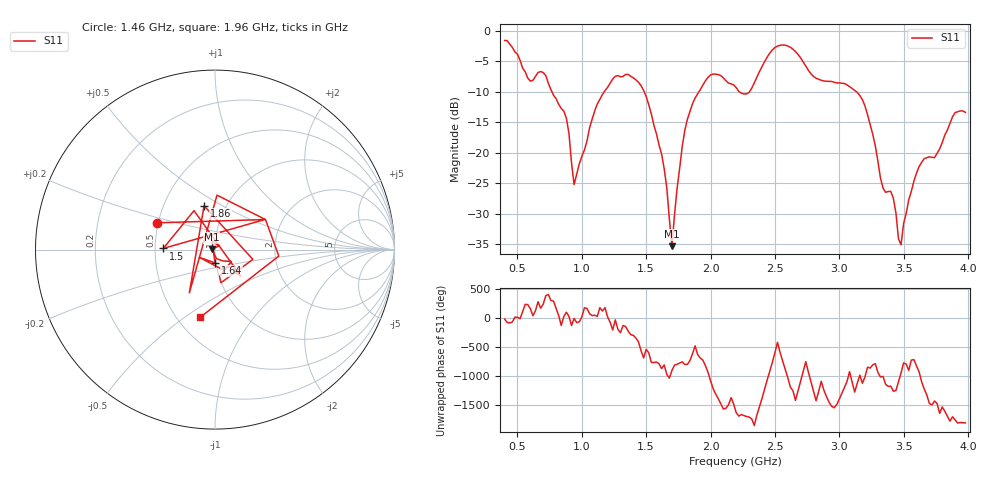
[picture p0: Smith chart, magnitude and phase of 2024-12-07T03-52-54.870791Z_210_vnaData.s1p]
!Created with skrf (http://scikit-rf.org).
# Hz S RI R 50.0
!freq ReS11 ImS11
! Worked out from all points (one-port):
!   180 points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, 400 MHz to 3.98 GHz, reference 50 ohm
!   lowest |S11| = -35.3 dB at 1.7 GHz (marker M1), VSWR 1.03, Z = 48.3 + j0.15 ohm
!   |S11| at or under -10 dB: 767.1 MHz to 1.175 GHz (407.9 MHz wide, 42 % of centre); 1.484 GHz to 1.911 GHz (426.8 MHz wide, 25.1 % of centre); 3.133 GHz to end of sweep (the widest 3 of 4)
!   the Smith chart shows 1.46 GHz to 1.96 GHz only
!   S11 on the Smith chart (normalised r, x): 1.46 GHz: 0.49, +0.17; 1.5 GHz: 0.55, +0.01; 1.64 GHz: 0.99, -0.15; 1.86 GHz: 0.79, +0.41; 1.96 GHz: 0.65, -0.57
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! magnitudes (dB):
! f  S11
! 400 MHz  -1.6
! 600 MHz  -8.3
! 700 MHz  -6.9
! 860 MHz  -13.2
! 900 MHz  -16.9
! 940 MHz  -25.2
! 1.12 GHz  -12.0
! 1.3 GHz  -7.6
! 1.46 GHz  -9.0
! 1.5 GHz  -10.8
! 1.64 GHz  -22.6
! 1.7 GHz  -35.3
! 1.76 GHz  -22.6
! 1.86 GHz  -12.0
! 1.96 GHz  -8.2
! 2.2 GHz  -9.4
! 2.3 GHz  -10.1
! 2.5 GHz  -2.8
! 2.64 GHz  -3.0
! 2.8 GHz  -7.5
! 3.1 GHz  -9.5
! 3.2 GHz  -12.4
! 3.34 GHz  -25.8
! 3.42 GHz  -27.4
! 3.48 GHz  -35.1
! 3.54 GHz  -27.7
! 3.64 GHz  -21.6
! 3.98 GHz  -13.4
